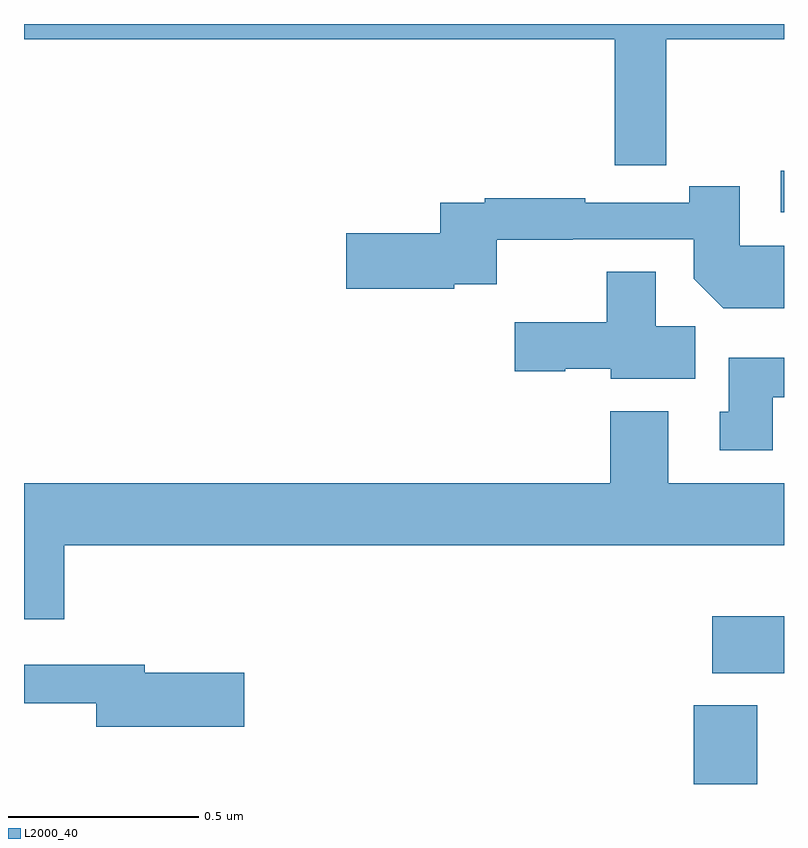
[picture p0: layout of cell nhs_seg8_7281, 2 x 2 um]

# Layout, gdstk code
import gdstk
lib = gdstk.Library(unit=1e-6, precision=1e-09)
def R(c, l, rs):  # rectangles x0, y0, x1, y1
    for r in rs: c.add(gdstk.rectangle(r[:2], r[2:], *l))
def P(c, l, *ps):  # polygons
    for p in ps: c.add(gdstk.Polygon(p, *l))
L2000_40 = (2000, 40)

nhs_seg8_7281 = lib.new_cell('nhs_seg8_7281')
R(nhs_seg8_7281, L2000_40, [(209.762,1087.9,209.929,1088.107), (209.811,1088.192,210,1088.341), (209.991,1089.405,210,1089.514)])
P(nhs_seg8_7281, L2000_40, [(209.69,1089.86),(210,1089.86),(210,1089.9),(208,1089.9),(208,1089.86),(209.554,1089.86),(209.554,1089.528),(209.69,1089.528)],
  [(210,1089.316),(209.884,1089.316),(209.884,1089.473),(209.75,1089.473),(209.75,1089.429),(209.477,1089.429),(209.477,1089.442),(209.212,1089.442),(209.212,1089.429),(209.096,1089.429),(209.096,1089.35),(208.848,1089.35),(208.848,1089.203),(209.132,1089.203),(209.132,1089.215),(209.244,1089.215),(209.244,1089.332),(209.444,1089.332),(209.444,1089.333),(209.762,1089.333),(209.762,1089.23),(209.84,1089.152),(210,1089.152)],
  [(209.767,1089.104),(209.662,1089.104),(209.662,1089.248),(209.533,1089.248),(209.533,1089.115),(209.292,1089.115),(209.292,1088.986),(209.424,1088.986),(209.424,1088.993),(209.544,1088.993),(209.544,1088.966),(209.767,1088.966)],
  [(209.971,1088.918),(210,1088.918),(210,1089.022),(209.855,1089.022),(209.855,1088.88),(209.831,1088.88),(209.831,1088.778),(209.971,1088.778)],
  [(208.106,1088.528),(210,1088.528),(210,1088.692),(209.695,1088.692),(209.695,1088.881),(209.543,1088.881),(209.543,1088.692),(208,1088.692),(208,1088.334),(208.106,1088.334)],
  [(208.579,1088.193),(208.318,1088.193),(208.318,1088.214),(208,1088.214),(208,1088.113),(208.19,1088.113),(208.19,1088.051),(208.579,1088.051)])

lib.write_gds('nhs_seg8_7281.gds')
